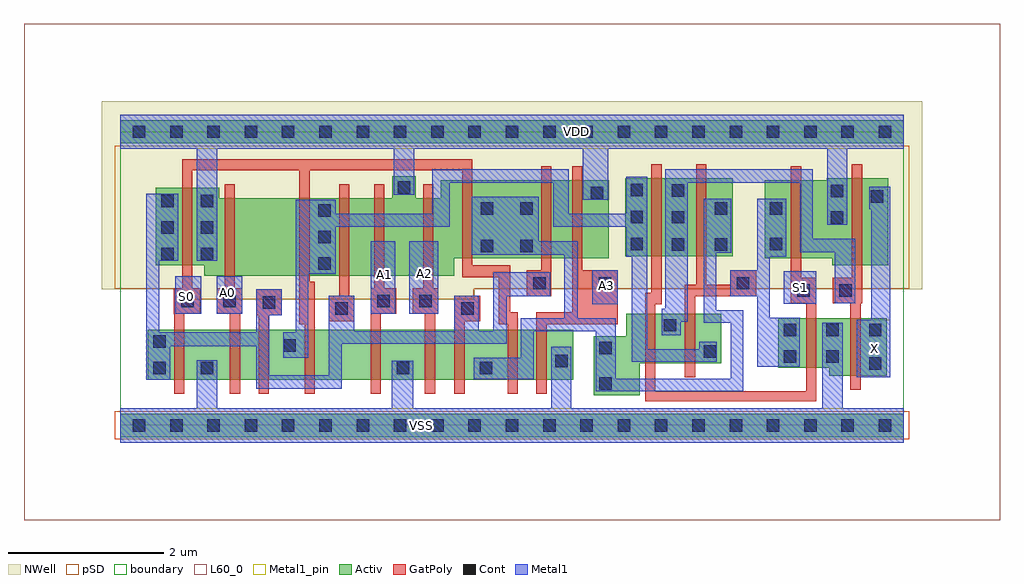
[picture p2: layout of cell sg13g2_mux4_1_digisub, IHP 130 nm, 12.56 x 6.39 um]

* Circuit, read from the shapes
.subckt sg13g2_mux4_1_digisub A0 A1 A2 A3 S0 S1 VDD VSS X
XM1 VSS S0 n1 VSS sg13_lv_nmos w=0.64u l=0.13u
XM2 n2 A0 VSS VSS sg13_lv_nmos w=0.64u l=0.13u
XM3 n3 n1 n2 VSS sg13_lv_nmos w=0.64u l=0.13u
XM4 n4 S0 n3 VSS sg13_lv_nmos w=0.64u l=0.13u
XM5 VSS A1 n4 VSS sg13_lv_nmos w=0.64u l=0.13u
XM6 n5 A2 VSS VSS sg13_lv_nmos w=0.64u l=0.13u
XM7 n6 n1 n5 VSS sg13_lv_nmos w=0.64u l=0.13u
XM8 n7 S0 n6 VSS sg13_lv_nmos w=0.64u l=0.13u
XM9 VSS A3 n7 VSS sg13_lv_nmos w=0.64u l=0.13u
XM10 n8 S1 n6 VSS sg13_lv_nmos w=0.64u l=0.13u
XM11 n3 n9 n8 VSS sg13_lv_nmos w=0.64u l=0.13u
XM12 VSS S1 n9 VSS sg13_lv_nmos w=0.64u l=0.13u
XM13 X n8 VSS VSS sg13_lv_nmos w=0.74u l=0.13u
XM14 VDD S0 n1 VDD sg13_lv_pmos w=1u l=0.13u
XM15 n10 A0 VDD VDD sg13_lv_pmos w=1u l=0.13u
XM16 n3 S0 n10 VDD sg13_lv_pmos w=1u l=0.13u
XM17 n11 n1 n3 VDD sg13_lv_pmos w=1u l=0.13u
XM18 VDD A1 n11 VDD sg13_lv_pmos w=1u l=0.13u
XM19 n12 A2 VDD VDD sg13_lv_pmos w=1u l=0.13u
XM20 n6 S0 n12 VDD sg13_lv_pmos w=1u l=0.13u
XM21 n13 n1 n6 VDD sg13_lv_pmos w=1u l=0.13u
XM22 VDD A3 n13 VDD sg13_lv_pmos w=1u l=0.13u
XM23 n8 S1 n3 VDD sg13_lv_pmos w=1u l=0.13u
XM24 n6 n9 n8 VDD sg13_lv_pmos w=1u l=0.13u
XM25 VDD S1 n9 VDD sg13_lv_pmos w=1u l=0.13u
XM26 X n8 VDD VDD sg13_lv_pmos w=1.12u l=0.13u
.ends

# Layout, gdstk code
import gdstk
lib = gdstk.Library(unit=1e-6, precision=1e-09)
def R(c, l, rs):  # rectangles x0, y0, x1, y1
    for r in rs: c.add(gdstk.rectangle(r[:2], r[2:], *l))
def A(c, l, x, y, w, h, nx, ny, dx, dy):  # array of equal rectangles
    R(c, l, [(x+i*dx, y+j*dy, x+i*dx+w, y+j*dy+h) for i in range(nx) for j in range(ny)])
def P(c, l, *ps):  # polygons
    for p in ps: c.add(gdstk.Polygon(p, *l))
Activ = (1, 0)
GatPoly = (5, 0)
Cont = (6, 0)
Metal1 = (8, 0)
Metal1_pin = (8, 2)
pSD = (14, 0)
NWell = (31, 0)
L60_0 = (60, 0)
boundary = (189, 4)

sg13g2_mux4_1_digisub = lib.new_cell('sg13g2_mux4_1_digisub')
R(sg13g2_mux4_1_digisub, Activ, [(0,-0.15,10.08,0.15), (0.355,0.59,5.825,1.23), (6.495,2.18,7.88,3.18), (0,3.63,10.08,3.93)])
P(sg13g2_mux4_1_digisub, Activ, [(9.885,3.18),(9.09,3.18),(9.09,3.155),(8.29,3.155),(8.29,2.155),(9.16,2.155),(9.16,2.06),(9.885,2.06)],
  [(9.865,1.38),(8.465,1.38),(8.465,0.74),(9.125,0.74),(9.125,0.64),(9.865,0.64)],
  [(7.735,1.44),(6.51,1.44),(6.51,1.145),(6.095,1.145),(6.095,0.39),(6.685,0.39),(6.685,0.8),(7.735,0.8)],
  [(6.285,3.155),(4.125,3.155),(4.125,2.925),(3.8,2.925),(3.8,3.21),(3.5,3.21),(3.5,2.925),(1.275,2.925),(1.275,3.06),(0.455,3.06),(0.455,2.06),(1.08,2.06),(1.08,1.925),(4.3,1.925),(4.3,2.155),(6.285,2.155)])
P(sg13g2_mux4_1_digisub, GatPoly, [(1.57,1.765),(1.475,1.765),(1.475,3.105),(1.345,3.105),(1.345,1.765),(1.24,1.765),(1.24,1.435),(1.41,1.435),(1.41,0.41),(1.54,0.41),(1.54,1.435),(1.57,1.435)],
  [(9.545,3.36),(9.415,3.36),(9.415,1.9),(9.165,1.9),(9.165,1.57),(9.395,1.57),(9.395,0.46),(9.525,0.46),(9.525,1.57),(9.545,1.57)],
  [(8.955,1.9),(8.76,1.9),(8.76,3.335),(8.63,3.335),(8.63,1.57),(8.825,1.57),(8.825,0.44),(6.885,0.44),(6.885,1.56),(6.965,1.56),(6.965,3.36),(6.835,3.36),(6.835,1.71),(6.755,1.71),(6.755,0.31),(8.955,0.31)],
  [(8.18,1.995),(7.85,1.995),(7.85,1.81),(7.54,1.81),(7.54,3.36),(7.41,3.36),(7.41,1.81),(7.265,1.81),(7.265,0.62),(7.395,0.62),(7.395,1.66),(8.18,1.66)],
  [(6.4,1.995),(5.945,1.995),(5.945,3.335),(5.815,3.335),(5.815,1.455),(5.355,1.455),(5.355,0.41),(5.485,0.41),(5.485,1.305),(6.4,1.305)],
  [(5.545,3.335),(5.415,3.335),(5.415,1.995),(5.23,1.995),(5.23,1.665),(5.545,1.665)],
  [(5.115,1.455),(5.02,1.455),(5.02,2.06),(4.53,2.06),(4.53,3.425),(0.795,3.425),(0.795,1.765),(0.685,1.765),(0.685,1.435),(0.695,1.435),(0.695,0.41),(0.825,0.41),(0.825,1.435),(1.025,1.435),(1.025,1.765),(0.925,1.765),(0.925,3.285),(2.305,3.285),(2.305,1.305),(2.37,1.305),(2.37,0.41),(2.5,0.41),(2.5,1.85),(2.435,1.85),(2.435,3.285),(4.4,3.285),(4.4,1.91),(4.87,1.91),(4.87,1.305),(4.985,1.305),(4.985,0.41),(5.115,0.41)],
  [(4.63,1.67),(4.3,1.67),(4.3,0.41),(4.43,0.41),(4.43,1.34),(4.63,1.34)],
  [(4.09,1.765),(4.025,1.765),(4.025,3.105),(3.895,3.105),(3.895,1.765),(3.76,1.765),(3.76,1.435),(3.92,1.435),(3.92,0.41),(4.05,0.41),(4.05,1.435),(4.09,1.435)],
  [(3.55,1.765),(3.395,1.765),(3.395,3.105),(3.265,3.105),(3.265,1.765),(3.22,1.765),(3.22,0.41),(3.35,0.41),(3.35,1.435),(3.55,1.435)],
  [(3.01,1.67),(2.945,1.67),(2.945,3.105),(2.815,3.105),(2.815,1.67),(2.68,1.67),(2.68,1.34),(3.01,1.34)],
  [(2.08,1.75),(1.75,1.75),(1.75,1.42),(1.78,1.42),(1.78,0.41),(1.91,0.41),(1.91,1.42),(2.08,1.42)])
A(sg13g2_mux4_1_digisub, Cont, 0.16, -0.08, 0.16, 0.16, 21, 2, 0.48, 3.78)
A(sg13g2_mux4_1_digisub, Cont, 8.535, 1.15, 0.16, 0.16, 3, 1, 0.55, 0)
A(sg13g2_mux4_1_digisub, Cont, 2.545, 2.005, 0.16, 0.16, 1, 3, 0, 0.34)
A(sg13g2_mux4_1_digisub, Cont, 0.525, 2.13, 0.16, 0.16, 1, 3, 0, 0.34)
A(sg13g2_mux4_1_digisub, Cont, 1.035, 2.13, 0.16, 0.16, 1, 3, 0, 0.34)
R(sg13g2_mux4_1_digisub, Cont, [(6.165,0.46,6.325,0.62), (0.425,0.66,0.585,0.82), (1.035,0.66,1.195,0.82), (3.56,0.66,3.72,0.82), (4.625,0.66,4.785,0.82), (9.635,0.72,9.795,0.88), (5.595,0.75,5.755,0.91), (8.535,0.81,8.695,0.97), (9.085,0.81,9.245,0.97), (7.505,0.87,7.665,1.03), (6.165,0.915,6.325,1.075), (2.1,0.95,2.26,1.11), (0.425,1,0.585,1.16), (6.995,1.21,7.155,1.37), (2.765,1.425,2.925,1.585), (4.385,1.425,4.545,1.585), (1.835,1.505,1.995,1.665), (0.785,1.52,0.945,1.68), (1.325,1.52,1.485,1.68), (3.305,1.52,3.465,1.68), (3.845,1.52,4.005,1.68), (8.71,1.655,8.87,1.815), (9.25,1.655,9.41,1.815), (5.315,1.75,5.475,1.91), (6.155,1.75,6.315,1.91), (7.935,1.75,8.095,1.91), (4.64,2.23,4.8,2.39), (5.145,2.23,5.305,2.39), (7.095,2.25,7.255,2.41), (7.65,2.25,7.81,2.41), (6.565,2.255,6.725,2.415), (8.36,2.255,8.52,2.415), (9.145,2.595,9.305,2.755), (7.095,2.6,7.255,2.76), (6.565,2.605,6.725,2.765), (4.64,2.71,4.8,2.87), (5.145,2.71,5.305,2.87), (7.65,2.71,7.81,2.87), (8.36,2.71,8.52,2.87), (9.655,2.865,9.815,3.025), (6.055,2.915,6.215,3.075), (9.145,2.935,9.305,3.095), (7.095,2.945,7.255,3.105), (6.565,2.95,6.725,3.11), (3.57,2.98,3.73,3.14)])
R(sg13g2_mux4_1_digisub, Metal1, [(0.705,1.435,1.04,1.92), (1.24,1.435,1.57,1.92), (3.22,1.435,3.54,2.37), (3.72,1.435,4.09,2.37), (6.07,1.56,6.4,2), (8.535,1.565,8.955,1.985)])
P(sg13g2_mux4_1_digisub, Metal1, [(10.08,0.22),(9.295,0.22),(9.295,1.325),(9.035,1.325),(9.035,0.22),(5.805,0.22),(5.805,1.01),(5.545,1.01),(5.545,0.22),(3.77,0.22),(3.77,0.835),(3.495,0.835),(3.495,0.22),(1.245,0.22),(1.245,0.84),(0.985,0.84),(0.985,0.22),(0,0.22),(0,-0.22),(10.08,-0.22)],
  [(10.08,4),(0,4),(0,3.56),(0.985,3.56),(0.985,2.12),(1.245,2.12),(1.245,3.56),(3.52,3.56),(3.52,2.97),(3.78,2.97),(3.78,3.56),(5.95,3.56),(5.95,2.905),(6.28,2.905),(6.28,3.56),(9.095,3.56),(9.095,2.585),(9.355,2.585),(9.355,3.56),(10.08,3.56)],
  [(9.905,3.075),(9.64,3.075),(9.64,2.78),(9.665,2.78),(9.665,1.36),(9.475,1.36),(9.475,0.62),(9.905,0.62)],
  [(9.46,2.4),(8.91,2.4),(8.91,3.295),(7.01,3.295),(7.01,1.505),(6.965,1.505),(6.965,1.16),(7.21,1.16),(7.21,1.335),(7.3,1.335),(7.3,3.125),(8.75,3.125),(8.75,2.23),(9.195,2.23),(9.195,1.57),(9.46,1.57)],
  [(8.745,1.385),(8.355,1.385),(8.355,2.17),(8.57,2.17),(8.57,2.92),(8.195,2.92),(8.195,1.995),(7.85,1.995),(7.85,1.665),(8.195,1.665),(8.195,0.755),(8.745,0.755)],
  [(8.015,1.485),(7.67,1.485),(7.67,2.22),(7.86,2.22),(7.86,2.92),(7.51,2.92),(7.51,1.325),(7.855,1.325),(7.855,0.6),(6.375,0.6),(6.375,1.38),(5.885,1.38),(5.885,2.37),(5.385,2.37),(5.385,2.945),(4.525,2.945),(4.525,2.2),(5.715,2.2),(5.715,1.38),(5.15,1.38),(5.15,0.87),(4.55,0.87),(4.55,0.595),(5.32,0.595),(5.32,1.21),(6.115,1.21),(6.115,0.44),(8.015,0.44)],
  [(7.675,1.08),(7.45,1.08),(7.45,0.98),(6.78,0.98),(6.78,3.2),(6.51,3.2),(6.51,2.725),(5.77,2.725),(5.77,3.295),(4.015,3.295),(4.015,2.725),(2.77,2.725),(2.77,2.905),(2.26,2.905),(2.26,1.2),(2.095,1.2),(2.095,0.87),(2.42,0.87),(2.42,1.95),(2.77,1.95),(2.77,2.555),(4.24,2.555),(4.24,3.125),(5.57,3.125),(5.57,2.555),(6.51,2.555),(6.51,2.17),(6.58,2.17),(6.58,0.82),(7.675,0.82)],
  [(5.535,1.97),(4.8,1.97),(4.8,1.21),(4.61,1.21),(4.61,1.67),(4.3,1.67),(4.3,1.21),(3.01,1.21),(3.01,1.67),(2.68,1.67),(2.68,0.645),(1.915,0.645),(1.915,1.42),(2.08,1.42),(2.08,1.75),(1.75,1.75),(1.75,1.2),(0.5,1.2),(0.5,2.12),(0.745,2.12),(0.745,2.985),(0.33,2.985),(0.33,0.59),(0.64,0.59),(0.64,1.02),(1.75,1.02),(1.75,0.475),(2.85,0.475),(2.85,1.05),(4.97,1.05),(4.97,1.665),(5.535,1.665)])
R(sg13g2_mux4_1_digisub, Metal1_pin, [(0,-0.22,10.08,0.22), (9.475,0.62,9.905,1.36), (0.705,1.435,1.04,1.92), (1.24,1.435,1.57,1.92), (3.22,1.435,3.54,2.37), (3.72,1.435,4.09,2.37), (6.07,1.56,6.4,2), (8.535,1.565,8.955,1.985), (0,3.56,10.08,4)])
R(sg13g2_mux4_1_digisub, pSD, [(-0.07,-0.18,10.15,0.18)])
P(sg13g2_mux4_1_digisub, pSD, [(10.15,3.6),(-0.07,3.6),(-0.07,1.76),(0.79,1.76),(0.79,1.625),(4.55,1.625),(4.55,1.76),(10.15,1.76)])
P(sg13g2_mux4_1_digisub, NWell, [(10.32,4.17),(-0.24,4.17),(-0.24,1.75),(0.74,1.75),(0.74,1.615),(4.56,1.615),(4.56,1.75),(10.32,1.75)])
R(sg13g2_mux4_1_digisub, L60_0, [(-1.24,-1.22,11.32,5.17)])
R(sg13g2_mux4_1_digisub, boundary, [(0,0,10.08,3.78)])
sg13g2_mux4_1_digisub.add(gdstk.Label('X', (9.705,0.99), layer=8, texttype=25))
sg13g2_mux4_1_digisub.add(gdstk.Label('A1', (3.395,1.94), layer=8, texttype=25))
sg13g2_mux4_1_digisub.add(gdstk.Label('A2', (3.92,1.95), layer=8, texttype=25))
sg13g2_mux4_1_digisub.add(gdstk.Label('S0', (0.845,1.665), layer=8, texttype=25))
sg13g2_mux4_1_digisub.add(gdstk.Label('VDD', (5.87,3.78), layer=8, texttype=25))
sg13g2_mux4_1_digisub.add(gdstk.Label('VSS', (3.875,0), layer=8, texttype=25))
sg13g2_mux4_1_digisub.add(gdstk.Label('S1', (8.755,1.77), layer=8, texttype=25))
sg13g2_mux4_1_digisub.add(gdstk.Label('A0', (1.385,1.705), layer=8, texttype=25))
sg13g2_mux4_1_digisub.add(gdstk.Label('A3', (6.255,1.795), layer=8, texttype=25))

lib.write_gds('sg13g2_mux4_1_digisub.gds')
